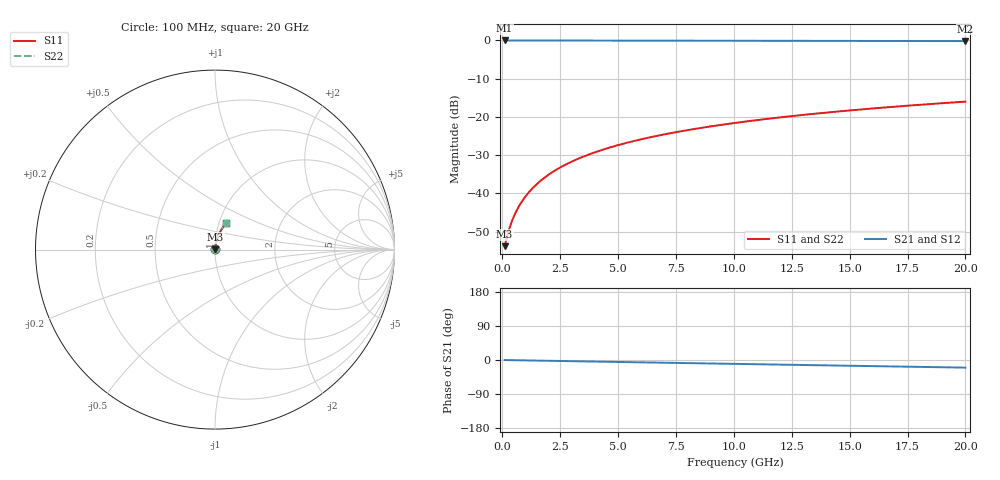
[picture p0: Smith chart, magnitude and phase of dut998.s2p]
! Touchstone file exported from HFSS 2026.1.0
!  File:  C:/ffzhzh/LocalFiles/Ansys_Project_Files/temp_train_TMRDL_998_1783159482_22436.aedt
!  Generated:  06:05:53 PM Jul  4, 2026
!  Design:  TMRDL
!  Project:  temp_train_TMRDL_998_1783159482_22436
! Variables:
!  h_bsmrdl = 2um
!  h_ox = 20um
!  h_rdl = 5um
!  h_sub = 80um
!  h_tmrdl = 3.75um
!  h_tsv = 80um
!  h_via = 3um
!  l_bsmrdl = 300um
!  l_sub = 701.85um
!  l_tmrdl = 301.85um
!  m_sub = 200um
!  pitch = 31.83um
!  r_tsv = 6um
!  s_tmrdl = 10um
!  w_bsmrdl = 18um
!  w_sub = 500um
!  w_tmrdl = 17.72um
!  x_tsv_center1 = 310.71um
!  x_tsv_center2 = 628.71um
!  x_tsv_center3 = 948.28um
!  x_tsv_center4 = 1266.28um
!  x_tsv_center5 = 1585.85um
!  x_tsv_center6 = 1903.85um
# GHz S MA R 50.000000
! Terminal data exported
! Port[1] = TM_RDL1_1_T1
! Port[2] = TM_RDL1_1_T2
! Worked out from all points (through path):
!   200 points, 100 MHz to 20 GHz, reference 50 ohm
!   highest |S21| = -0.02 dB at 100 MHz (marker M1); lowest = -0.2 dB at 20 GHz (marker M2)
!   group delay of S21, straight-line fit = 2.79 ps
!   lowest |S11| = -53.8 dB at 100 MHz (marker M3), VSWR 1.00, Z = 50.2 + j0.0999 ohm
!   |S11| at or under -10 dB: start of sweep to end of sweep
!   |S22| runs from -53.8 to -16.0 dB; largest |S21 - S12| = 2.6e-15
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0.1  0.00205 29.0  0.9982 -0.1  0.9982 -0.1  0.00205 29.0
! Gamma 0 0 0 0
! Port Impedance 50 0 50 0
0.2  0.002703 45.8  0.9981 -0.2  0.9981 -0.2  0.0027 45.8
0.3  0.003455 55.1  0.998 -0.3  0.998 -0.3  0.003447 55.0
0.4  0.004234 60.9  0.9979 -0.4  0.9979 -0.4  0.004223 60.9
0.5  0.005027 65.0  0.9979 -0.5  0.9979 -0.5  0.005016 65.1
0.6  0.005832 68.0  0.9978 -0.6  0.9978 -0.6  0.005824 68.1
0.8  0.007471 72.1  0.9977 -0.8  0.9977 -0.8  0.007471 72.2
1  0.009137 74.7  0.9977 -1.1  0.9977 -1.1  0.009142 74.8
1.2  0.01082 76.5  0.9976 -1.3  0.9976 -1.3  0.01083 76.6
1.4  0.01251 77.7  0.9975 -1.5  0.9975 -1.5  0.01252 77.8
1.7  0.01506 79.0  0.9974 -1.8  0.9974 -1.8  0.01507 79.0
2.2  0.01931 80.1  0.9973 -2.3  0.9973 -2.3  0.01931 80.1
2.8  0.0244 80.7  0.997 -2.9  0.997 -2.9  0.0244 80.7
3.5  0.03031 80.8  0.9966 -3.6  0.9966 -3.6  0.03031 80.8
4.2  0.03618 80.5  0.9961 -4.4  0.9961 -4.4  0.03618 80.6
5  0.04284 80.1  0.9956 -5.2  0.9956 -5.2  0.04284 80.1
6.8  0.0576 78.8  0.9941 -7.0  0.9941 -7.0  0.0576 78.8
8.3  0.06967 77.5  0.9928 -8.5  0.9928 -8.5  0.06967 77.5
10.1  0.08392 76.0  0.9911 -10.3  0.9911 -10.3  0.08392 76.0
13.4  0.1095 73.0  0.9876 -13.6  0.9876 -13.6  0.1095 73.1
16.7  0.1343 70.1  0.9838 -16.9  0.9838 -16.9  0.1343 70.1
20  0.1585 67.1  0.9796 -20.1  0.9796 -20.1  0.1585 67.1
